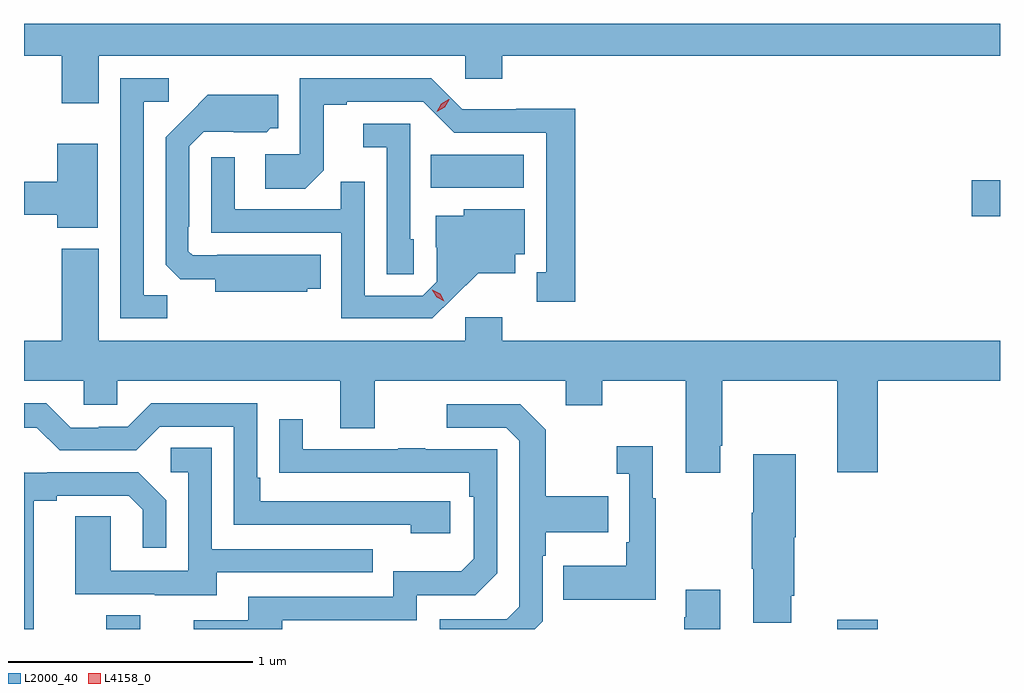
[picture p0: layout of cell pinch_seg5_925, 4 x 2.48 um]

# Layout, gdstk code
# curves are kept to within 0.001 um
import gdstk
lib = gdstk.Library(unit=1e-6, precision=1e-09)
def R(c, l, rs):  # rectangles x0, y0, x1, y1
    for r in rs: c.add(gdstk.rectangle(r[:2], r[2:], *l))
def P(c, l, *ps):  # polygons
    for p in ps: c.add(gdstk.Polygon(p, *l))
L2000_40 = (2000, 40)
L4158_0 = (4158, 0)

pinch_seg5_925 = lib.new_cell('pinch_seg5_925')
R(pinch_seg5_925, L2000_40, [(677.495,913.018,677.635,913.076), (680.492,913.018,680.656,913.057), (681.042,914.711,681.158,914.858), (678.826,914.828,679.207,914.962)])
P(pinch_seg5_925, L2000_40, [(677.464,915.368),(678.966,915.368),(678.966,915.275),(679.118,915.275),(679.118,915.368),(681.158,915.368),(681.158,915.5),(677.158,915.5),(677.158,915.368),(677.312,915.368),(677.312,915.174),(677.464,915.174)],
  [(679.417,915.152),(679.176,915.152),(679.176,915.15),(678.954,915.15),(678.828,915.276),(678.288,915.276),(678.288,914.964),(678.147,914.964),(678.147,914.824),(678.311,914.824),(678.387,914.9),(678.387,915.168),(678.481,915.168),(678.481,915.18),(678.795,915.18),(678.921,915.054),(679.298,915.054),(679.298,914.481),(679.259,914.481),(679.259,914.361),(679.417,914.361)],
  [(677.745,914.387),(677.649,914.387),(677.649,915.18),(677.752,915.18),(677.752,915.276),(677.553,915.276),(677.553,914.292),(677.745,914.292)],
  [(678.318,914.414),(678.374,914.414),(678.374,914.554),(677.95,914.554),(677.95,914.55),(677.85,914.55),(677.832,914.568),(677.832,914.668),(677.835,914.668),(677.835,914.997),(677.895,915.057),(678.152,915.056),(678.168,915.072),(678.199,915.072),(678.199,915.208),(677.911,915.208),(677.739,915.034),(677.739,914.512),(677.798,914.453),(677.942,914.453),(677.942,914.402),(678.318,914.402)],
  [(678.756,914.616),(678.741,914.616),(678.741,915.09),(678.549,915.09),(678.549,914.993),(678.645,914.993),(678.645,914.473),(678.756,914.473)],
  [(677.461,915.007),(677.294,915.007),(677.294,914.852),(677.158,914.852),(677.158,914.716),(677.294,914.716),(677.294,914.663),(677.461,914.663)],
  [(678.916,914.375),(679.019,914.477),(679.171,914.477),(679.171,914.556),(679.21,914.556),(679.21,914.74),(678.96,914.74),(678.96,914.713),(678.845,914.713),(678.845,914.584),(678.849,914.584),(678.849,914.442),(678.792,914.385),(678.555,914.385),(678.555,914.852),(678.457,914.852),(678.457,914.739),(678.021,914.739),(678.021,914.953),(677.925,914.953),(677.925,914.643),(678.459,914.643),(678.459,914.292),(678.832,914.292)],
  [(680.011,913.771),(680.019,913.771),(680.019,914.036),(680.492,914.036),(680.492,913.662),(680.656,913.662),(680.656,914.036),(681.158,914.036),(681.158,914.2),(679.118,914.2),(679.118,914.296),(678.966,914.296),(678.966,914.2),(677.464,914.2),(677.464,914.578),(677.312,914.578),(677.312,914.2),(677.158,914.2),(677.158,914.036),(677.403,914.036),(677.403,913.938),(677.541,913.938),(677.541,914.036),(678.455,914.036),(678.455,913.842),(678.595,913.842),(678.595,914.036),(679.379,914.036),(679.379,913.937),(679.527,913.937),(679.527,914.036),(679.871,914.036),(679.871,913.659),(680.011,913.659)],
  [(678.904,913.542),(678.127,913.542),(678.127,913.639),(678.114,913.639),(678.114,913.944),(677.679,913.944),(677.583,913.848),(677.465,913.848),(677.465,913.845),(677.349,913.845),(677.249,913.945),(677.158,913.945),(677.158,913.845),(677.211,913.845),(677.304,913.752),(677.619,913.752),(677.715,913.848),(678.018,913.848),(678.018,913.446),(678.743,913.446),(678.743,913.412),(678.904,913.412)],
  [(679.284,913.05),(679.284,913.319),(679.297,913.319),(679.297,913.415),(679.553,913.415),(679.553,913.563),(679.297,913.563),(679.297,913.835),(679.191,913.941),(678.891,913.941),(678.891,913.845),(679.134,913.845),(679.188,913.791),(679.188,913.11),(679.137,913.059),(678.861,913.059),(678.861,913.018),(679.252,913.018)],
  [(678.217,913.056),(678.768,913.056),(678.768,913.158),(679.008,913.158),(679.098,913.248),(679.098,913.755),(678.803,913.755),(678.803,913.76),(678.691,913.76),(678.691,913.755),(678.301,913.755),(678.301,913.879),(678.205,913.879),(678.205,913.66),(678.982,913.659),(678.982,913.562),(679.002,913.562),(679.002,913.308),(678.949,913.255),(678.672,913.255),(678.672,913.152),(678.077,913.152),(678.077,913.056),(677.853,913.056),(677.853,913.018),(678.217,913.018)],
  [(679.747,913.555),(679.735,913.555),(679.735,913.768),(679.587,913.768),(679.587,913.655),(679.638,913.655),(679.638,913.375),(679.626,913.375),(679.626,913.279),(679.369,913.279),(679.369,913.139),(679.747,913.139)],
  [(677.947,913.251),(678.587,913.251),(678.587,913.347),(677.928,913.347),(677.928,913.763),(677.76,913.763),(677.76,913.662),(677.832,913.662),(677.832,913.257),(677.514,913.257),(677.514,913.481),(677.369,913.481),(677.369,913.161),(677.693,913.161),(677.693,913.157),(677.947,913.157)],
  [(680.302,913.156),(680.315,913.156),(680.315,913.395),(680.32,913.395),(680.32,913.735),(680.147,913.735),(680.147,913.495),(680.14,913.495),(680.14,913.267),(680.147,913.267),(680.147,913.044),(680.302,913.044)],
  [(677.197,913.544),(677.293,913.544),(677.293,913.566),(677.588,913.566),(677.645,913.509),(677.645,913.353),(677.742,913.353),(677.742,913.546),(677.626,913.662),(677.254,913.662),(677.254,913.659),(677.16,913.659),(677.158,913.661),(677.158,913.018),(677.197,913.018)],
  [(680.011,913.18),(679.871,913.18),(679.871,913.067),(679.864,913.067),(679.864,913.018),(680.011,913.018)])
P(pinch_seg5_925, L4158_0, [(678.85,915.139),(678.85,915.139),(678.868,915.171),(678.899,915.19),(678.9,915.19),(678.9,915.189),(678.882,915.157),(678.85,915.139)],
  [(678.88,914.363),(678.849,914.379),(678.832,914.408),(678.832,914.409),(678.832,914.409),(678.863,914.393),(678.88,914.363),(678.88,914.363)])

lib.write_gds('pinch_seg5_925.gds')
